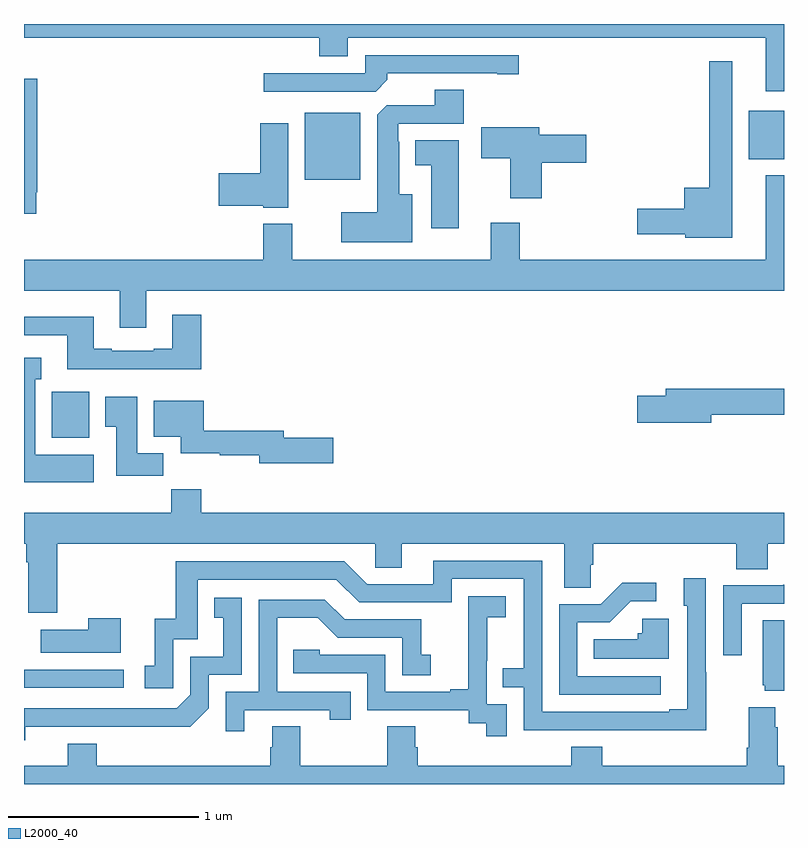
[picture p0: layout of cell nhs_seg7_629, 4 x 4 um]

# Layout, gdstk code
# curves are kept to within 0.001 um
import gdstk
lib = gdstk.Library(unit=1e-6, precision=1e-09)
def R(c, l, rs):  # rectangles x0, y0, x1, y1
    for r in rs: c.add(gdstk.rectangle(r[:2], r[2:], *l))
def P(c, l, *ps):  # polygons
    for p in ps: c.add(gdstk.Polygon(p, *l))
L2000_40 = (2000, 40)

nhs_seg7_629 = lib.new_cell('nhs_seg7_629')
R(nhs_seg7_629, L2000_40, [(159,1018.506,159.526,1018.602), (159.146,1019.822,159.343,1020.064), (160.478,1021.181,160.771,1021.534), (162.815,1021.289,163,1021.543)])
P(nhs_seg7_629, L2000_40, [(163,1022),(159,1022),(159,1021.928),(160.553,1021.928),(160.553,1021.829),(160.705,1021.829),(160.705,1021.928),(162.905,1021.928),(162.905,1021.647),(163,1021.647)],
  [(160.913,1021.706),(160.913,1021.74),(161.492,1021.74),(161.492,1021.735),(161.605,1021.735),(161.605,1021.836),(160.797,1021.836),(160.797,1021.74),(160.263,1021.74),(160.263,1021.644),(160.851,1021.644)],
  [(162.727,1021.804),(162.606,1021.804),(162.606,1021.138),(162.476,1021.138),(162.476,1021.028),(162.228,1021.028),(162.228,1020.893),(162.48,1020.893),(162.48,1020.875),(162.727,1020.875)],
  [(159.064,1021.114),(159.071,1021.114),(159.071,1021.712),(159,1021.712),(159,1021.002),(159.064,1021.002)],
  [(161.044,1021.105),(160.975,1021.105),(160.975,1021.379),(160.971,1021.379),(160.971,1021.476),(161.315,1021.476),(161.315,1021.655),(161.162,1021.655),(161.162,1021.572),(160.908,1021.572),(160.859,1021.523),(160.859,1021.009),(160.671,1021.009),(160.671,1020.851),(161.044,1020.851)],
  [(160.39,1021.477),(160.244,1021.477),(160.244,1021.214),(160.026,1021.214),(160.026,1021.043),(160.26,1021.043),(160.26,1021.034),(160.39,1021.034)],
  [(161.726,1021.271),(161.959,1021.271),(161.959,1021.418),(161.713,1021.418),(161.713,1021.456),(161.406,1021.456),(161.406,1021.294),(161.558,1021.294),(161.558,1021.083),(161.726,1021.083)],
  [(161.287,1021.387),(161.06,1021.387),(161.06,1021.256),(161.144,1021.256),(161.144,1020.924),(161.287,1020.924)],
  [(159.643,1020.596),(163,1020.596),(163,1021.204),(162.905,1021.204),(162.905,1020.76),(161.609,1020.76),(161.609,1020.955),(161.456,1020.955),(161.456,1020.76),(160.411,1020.76),(160.411,1020.949),(160.259,1020.949),(160.259,1020.76),(159,1020.76),(159,1020.596),(159.503,1020.596),(159.503,1020.402),(159.643,1020.402)],
  [(159.932,1020.469),(159.779,1020.469),(159.779,1020.292),(159.683,1020.292),(159.683,1020.279),(159.463,1020.279),(159.463,1020.292),(159.367,1020.292),(159.367,1020.46),(159,1020.46),(159,1020.363),(159.227,1020.363),(159.227,1020.182),(159.932,1020.182)],
  [(159.367,1019.734),(159.058,1019.734),(159.058,1020.131),(159.091,1020.131),(159.091,1020.244),(159,1020.244),(159,1019.588),(159.367,1019.588)],
  [(162.616,1019.944),(163,1019.944),(163,1020.08),(162.377,1020.08),(162.377,1020.044),(162.228,1020.044),(162.228,1019.902),(162.616,1019.902)],
  [(159.734,1019.74),(159.595,1019.74),(159.595,1020.037),(159.428,1020.037),(159.428,1019.881),(159.485,1019.881),(159.485,1019.622),(159.734,1019.622)],
  [(160.627,1019.822),(160.366,1019.822),(160.366,1019.858),(159.947,1019.858),(159.947,1020.016),(159.683,1020.016),(159.683,1019.828),(159.824,1019.828),(159.824,1019.741),(160.03,1019.741),(160.03,1019.73),(160.238,1019.73),(160.238,1019.687),(160.627,1019.687)],
  [(159.176,1019.264),(160.848,1019.264),(160.848,1019.137),(160.987,1019.137),(160.987,1019.264),(161.843,1019.264),(161.843,1019.032),(161.982,1019.032),(161.982,1019.155),(161.996,1019.155),(161.996,1019.264),(162.749,1019.264),(162.749,1019.131),(162.914,1019.131),(162.914,1019.264),(163,1019.264),(163,1019.428),(159.932,1019.428),(159.932,1019.552),(159.775,1019.552),(159.775,1019.428),(159,1019.428),(159,1019.264),(159.011,1019.264),(159.011,1019.168),(159.023,1019.168),(159.023,1018.902),(159.176,1018.902)],
  [(162.591,1018.589),(162.588,1018.589),(162.588,1019.083),(162.473,1019.083),(162.473,1018.938),(162.492,1018.938),(162.492,1018.393),(162.395,1018.393),(162.395,1018.38),(161.727,1018.38),(161.727,1019.175),(161.153,1019.175),(161.153,1019.052),(160.806,1019.052),(160.686,1019.172),(159.799,1019.172),(159.799,1018.87),(159.689,1018.87),(159.689,1018.623),(159.636,1018.623),(159.636,1018.503),(159.786,1018.503),(159.786,1018.761),(159.915,1018.761),(159.915,1019.076),(160.644,1019.076),(160.764,1018.956),(161.25,1018.956),(161.25,1019.079),(161.631,1019.079),(161.631,1018.61),(161.521,1018.61),(161.521,1018.509),(161.631,1018.509),(161.631,1018.284),(162.591,1018.283)],
  [(162.352,1018.566),(161.913,1018.566),(161.913,1018.851),(162.082,1018.851),(162.193,1018.962),(162.328,1018.962),(162.328,1019.06),(162.149,1019.06),(162.036,1018.947),(161.817,1018.947),(161.817,1018.47),(162.352,1018.47)],
  [(162.777,1018.95),(163,1018.95),(163,1019.048),(162.997,1019.048),(162.997,1019.046),(162.681,1019.046),(162.681,1018.677),(162.777,1018.677)],
  [(161.541,1018.419),(161.436,1018.419),(161.436,1018.649),(161.438,1018.649),(161.438,1018.877),(161.536,1018.877),(161.536,1018.987),(161.338,1018.987),(161.338,1018.781),(161.339,1018.781),(161.339,1018.498),(161.243,1018.498),(161.243,1018.485),(160.902,1018.485),(160.902,1018.68),(160.557,1018.68),(160.557,1018.707),(160.417,1018.707),(160.417,1018.584),(160.806,1018.584),(160.806,1018.389),(161.34,1018.389),(161.34,1018.321),(161.433,1018.321),(161.433,1018.251),(161.541,1018.251)],
  [(159.006,1018.302),(159.874,1018.301),(159.972,1018.398),(159.972,1018.575),(160.146,1018.575),(160.146,1018.981),(160,1018.981),(160,1018.875),(160.049,1018.875),(160.049,1018.671),(159.876,1018.671),(159.876,1018.47),(159.804,1018.398),(159,1018.398),(159,1018.229),(159.006,1018.229)],
  [(160.159,1018.389),(160.61,1018.389),(160.61,1018.338),(160.721,1018.338),(160.721,1018.485),(160.332,1018.485),(160.332,1018.874),(160.546,1018.874),(160.65,1018.77),(160.992,1018.77),(160.992,1018.572),(161.14,1018.572),(161.14,1018.681),(161.091,1018.681),(161.091,1018.866),(160.687,1018.866),(160.582,1018.971),(160.236,1018.971),(160.236,1018.485),(160.062,1018.485),(160.062,1018.278),(160.159,1018.278)],
  [(159.508,1018.873),(159.338,1018.873),(159.338,1018.813),(159.089,1018.813),(159.089,1018.691),(159.508,1018.691)],
  [(162.394,1018.87),(162.255,1018.87),(162.255,1018.794),(162.229,1018.794),(162.229,1018.762),(161.998,1018.762),(161.998,1018.658),(162.394,1018.658)],
  [(163,1018.861),(162.887,1018.861),(162.887,1018.521),(162.899,1018.521),(162.899,1018.49),(163,1018.49)],
  [(159.23,1018.096),(159,1018.096),(159,1018),(163,1018),(163,1018.096),(162.968,1018.096),(162.968,1018.298),(162.955,1018.298),(162.955,1018.405),(162.815,1018.405),(162.815,1018.192),(162.803,1018.192),(162.803,1018.096),(162.044,1018.096),(162.044,1018.195),(161.879,1018.195),(161.879,1018.096),(161.072,1018.096),(161.072,1018.194),(161.059,1018.194),(161.059,1018.304),(160.912,1018.304),(160.912,1018.096),(160.455,1018.096),(160.455,1018.304),(160.307,1018.304),(160.307,1018.194),(160.295,1018.194),(160.295,1018.096),(159.383,1018.096),(159.383,1018.213),(159.23,1018.213)])

lib.write_gds('nhs_seg7_629.gds')
